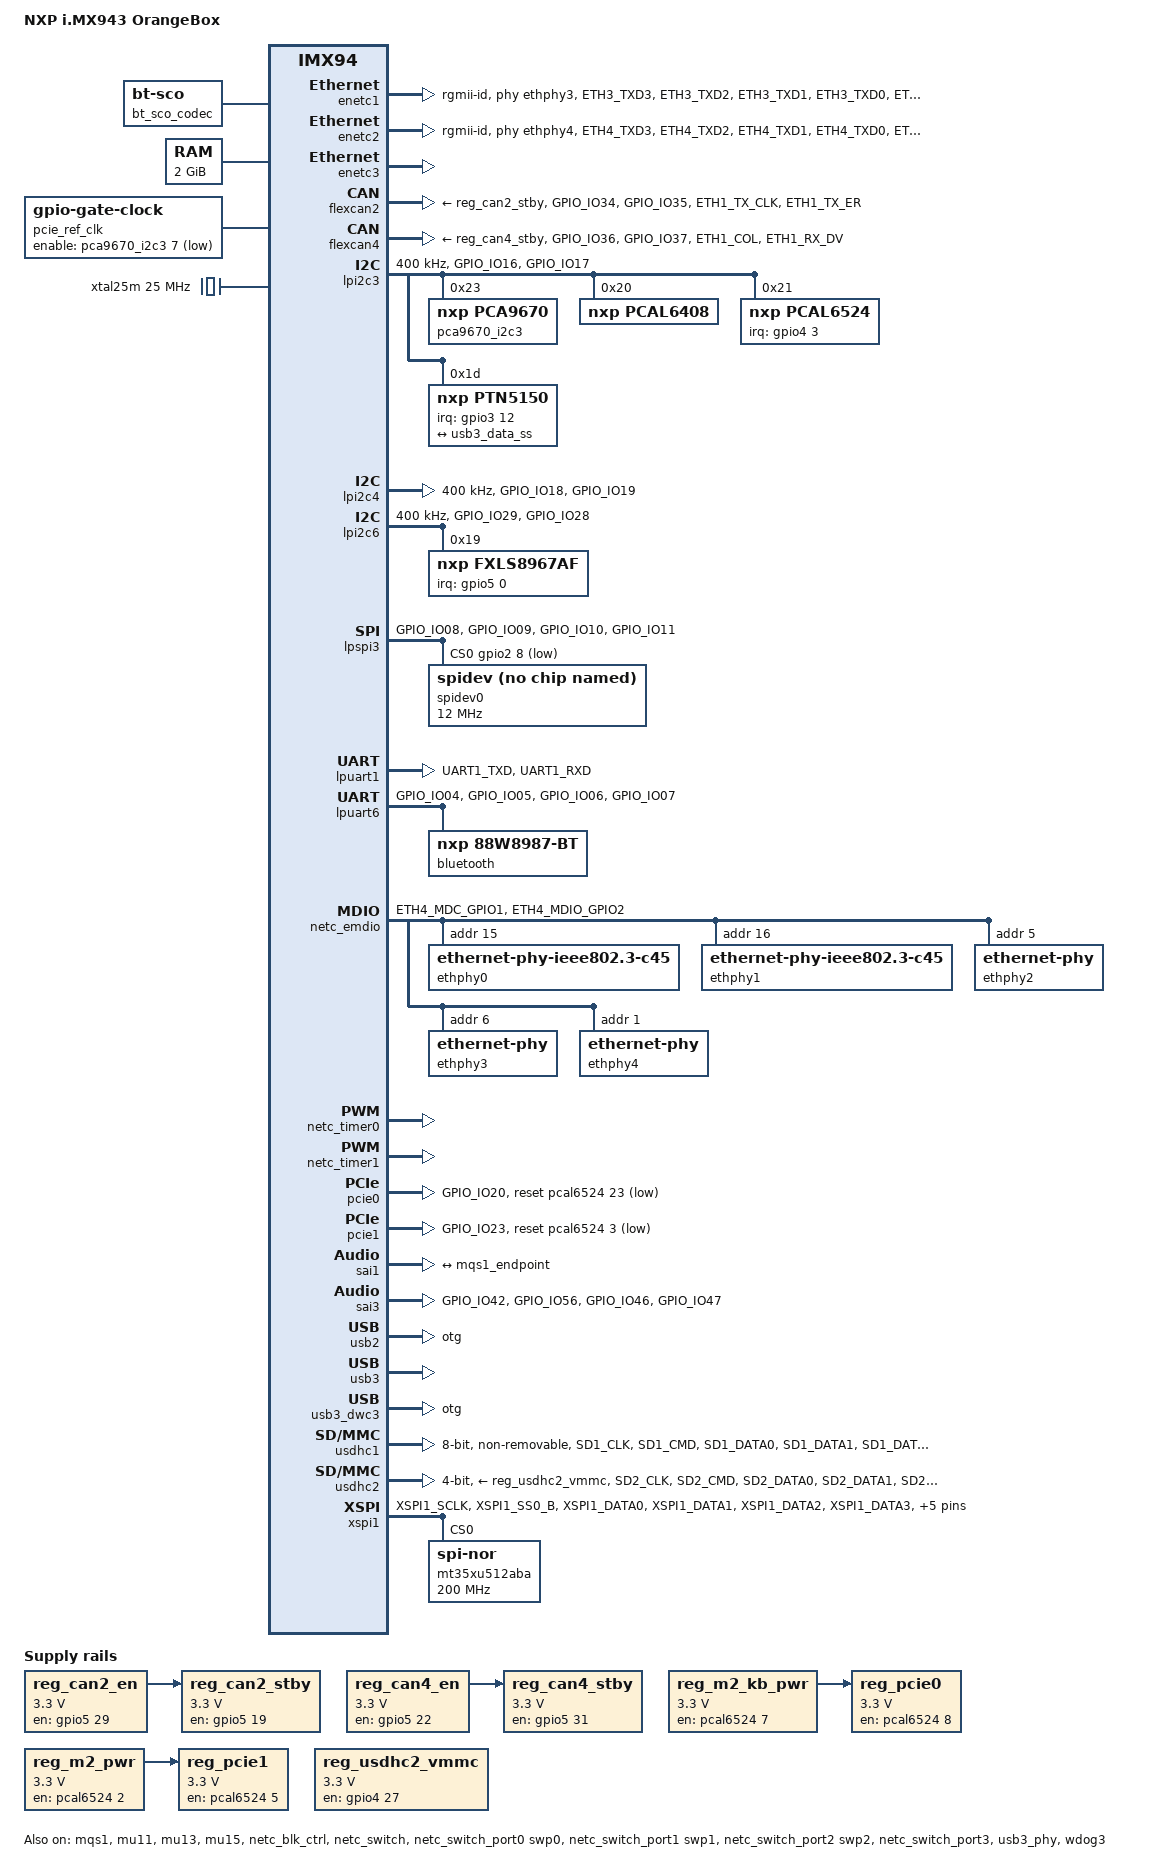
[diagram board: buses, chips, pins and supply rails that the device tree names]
// SPDX-License-Identifier: (GPL-2.0+ OR MIT)
/*
 * Copyright 2025 NXP
 */

/dts-v1/;

#include "imx943.dtsi"
#include <dt-bindings/usb/pd.h>

#define BRD_SM_CTRL_BT_WAKE		0x8000  /*!< PCAL6416A-3 */
#define BRD_SM_CTRL_SD3_WAKE		0x8001  /*!< PCAL6416A-4 */
#define BRD_SM_CTRL_PCIE1_WAKE		0x8002  /*!< PCAL6416A-5 */

/ {
	model = "NXP i.MX943 OrangeBox";
	compatible = "fsl,imx943-orangebox", "fsl,imx94";

	aliases {
		mmc0 = &usdhc1;
		mmc1 = &usdhc2;
		serial0 = &lpuart1;
	};

	bt_sco_codec: bt-sco-codec {
		compatible = "linux,bt-sco";
		#sound-dai-cells = <1>;
	};

	chosen {
		stdout-path = &lpuart1;
	};

	cm70: imx943-cm70 {
		compatible = "fsl,imx94-cm7";
		mbox-names = "tx", "rx", "rxdb";
		mboxes = <&mu11 0 1
			  &mu11 1 1
			  &mu11 3 1>;
		memory-region = <&cm70_vdevbuffer>, <&cm70_vdev0vring0>, <&cm70_vdev0vring1>,
				<&cm70_vdev1vring0>, <&cm70_vdev1vring1>, <&cm70_rsc_table>;
		fsl,startup-delay-ms = <50>;
		fsl,core-index = <0x1>;
		/* cpuid and lmmid must align with SM firmware */
		fsl,cpu-id = <1>;
		fsl,lmm-id = <2>;
		status = "okay";
	};

	cm71: imx943-cm71 {
		compatible = "fsl,imx94-cm7";
		mbox-names = "tx", "rx", "rxdb";
		mboxes = <&mu13 0 1
			  &mu13 1 1
			  &mu13 3 1>;
		memory-region = <&cm71_vdevbuffer>, <&cm71_vdev0vring0>, <&cm71_vdev0vring1>,
				<&cm71_vdev1vring0>, <&cm71_vdev1vring1>, <&cm71_rsc_table>;
		fsl,startup-delay-ms = <50>;
		fsl,core-index = <0x7>;
		/* cpuid and lmmid must align with SM firmware */
		fsl,cpu-id = <7>;
		fsl,lmm-id = <3>;
		status = "okay";
	};

	cm33s: imx943-cm33s {
		compatible = "fsl,imx94-cm33s";
		mbox-names = "tx", "rx", "rxdb";
		mboxes = <&mu15 0 1
			  &mu15 1 1
			  &mu15 3 1>;
		memory-region = <&cm33s_vdevbuffer>, <&cm33s_vdev0vring0>, <&cm33s_vdev0vring1>,
				<&cm33s_vdev1vring0>, <&cm33s_vdev1vring1>, <&cm33s_rsc_table>;
		fsl,startup-delay-ms = <50>;
		/* cpuid and lmmid must align with SM firmware */
		fsl,cpu-id = <8>;
		fsl,lmm-id = <1>;
		status = "okay";
	};

	memory@80000000 {
		device_type = "memory";
		reg = <0x0 0x80000000 0x0 0x80000000>;
	};

	pcie_ref_clk: clock-pcie-ref {
		compatible = "gpio-gate-clock";
		clocks = <&xtal25m>;
		#clock-cells = <0>;
		enable-gpios = <&pca9670_i2c3 7 GPIO_ACTIVE_LOW>;
	};

	reg_can2_en: regulator-can2-en {
		compatible = "regulator-fixed";
		regulator-max-microvolt = <3300000>;
		regulator-min-microvolt = <3300000>;
		regulator-name = "can2-en";
		gpio = <&gpio5 29 GPIO_ACTIVE_HIGH>;
		enable-active-high;
	};

	reg_can2_stby: regulator-can2-stby {
		compatible = "regulator-fixed";
		regulator-max-microvolt = <3300000>;
		regulator-min-microvolt = <3300000>;
		regulator-name = "can2-stby";
		vin-supply = <&reg_can2_en>;
		gpio = <&gpio5 19 GPIO_ACTIVE_HIGH>;
		enable-active-high;
	};

	reg_can4_en: regulator-can4-en {
		compatible = "regulator-fixed";
		regulator-max-microvolt = <3300000>;
		regulator-min-microvolt = <3300000>;
		regulator-name = "can4-en";
		gpio = <&gpio5 22 GPIO_ACTIVE_HIGH>;
		enable-active-high;
	};

	reg_can4_stby: regulator-can4-stby {
		compatible = "regulator-fixed";
		regulator-max-microvolt = <3300000>;
		regulator-min-microvolt = <3300000>;
		regulator-name = "can4-stby";
		vin-supply = <&reg_can4_en>;
		gpio = <&gpio5 31 GPIO_ACTIVE_HIGH>;
		enable-active-high;
	};

	reg_m2_kb_pwr: regulator-m2-kb-pwr {
		compatible = "regulator-fixed";
		regulator-name = "M.2-kb-power";
		regulator-min-microvolt = <3300000>;
		regulator-max-microvolt = <3300000>;
		gpio = <&pcal6524 7 GPIO_ACTIVE_HIGH>;
		enable-active-high;
		/*
		 * M.2 device only can be enabled(W_DISABLE1#) after all Power
		 * Rails reach their minimum operating voltage (PCI Express M.2
		 * Specification r5.1 3.1.4 Power-up Timing).
		 * Set a delay equal to the max value of Tsettle here.
		 */
		startup-delay-us = <5000>;
	};

	reg_pcie0: regulator-pcie-mdm {
		compatible = "regulator-fixed";
		regulator-name = "PCIe-MDM-pwr";
		regulator-min-microvolt = <3300000>;
		regulator-max-microvolt = <3300000>;
		vin-supply = <&reg_m2_kb_pwr>;
		gpio = <&pcal6524 8 GPIO_ACTIVE_HIGH>;
		enable-active-high;
	};

	reg_m2_pwr: regulator-m2-pwr {
		compatible = "regulator-fixed";
		regulator-name = "M.2-power";
		regulator-min-microvolt = <3300000>;
		regulator-max-microvolt = <3300000>;
		gpio = <&pcal6524 2 GPIO_ACTIVE_HIGH>;
		enable-active-high;
		/*
		 * M.2 device only can be enabled(W_DISABLE1#) after all Power
		 * Rails reach their minimum operating voltage (PCI Express M.2
		 * Specification r5.1 3.1.4 Power-up Timing).
		 * Set a delay equal to the max value of Tsettle here.
		 */
		startup-delay-us = <5000>;
	};

	reg_pcie1: regulator-pcie {
		compatible = "regulator-fixed";
		regulator-name = "PCIE_WLAN_EN";
		regulator-min-microvolt = <3300000>;
		regulator-max-microvolt = <3300000>;
		vin-supply = <&reg_m2_pwr>;
		gpio = <&pcal6524 5 GPIO_ACTIVE_HIGH>;
		enable-active-high;
	};

	reserved-memory {
		#address-cells = <2>;
		#size-cells = <2>;
		ranges;

		linux,cma {
			compatible = "shared-dma-pool";
			reusable;
			size = <0 0x10000000>;
			alloc-ranges = <0 0x80000000 0 0x7f000000>;
			linux,cma-default;
		};

		cm70_vdev0vring0: vdev0vring0@82000000 {
			reg = <0 0x82000000 0 0x8000>;
			no-map;
		};

		cm70_vdev0vring1: vdev0vring1@82008000 {
			reg = <0 0x82008000 0 0x8000>;
			no-map;
		};

		cm70_vdev1vring0: vdev1vring0@82010000 {
			reg = <0 0x82010000 0 0x8000>;
			no-map;
		};

		cm70_vdev1vring1: vdev1vring1@82018000 {
			reg = <0 0x82018000 0 0x8000>;
			no-map;
		};

		cm70_rsc_table: rsc-table@82220000 {
			reg = <0 0x82220000 0 0x1000>;
			no-map;
		};

		cm70_vdevbuffer: vdevbuffer@82020000 {
			compatible = "shared-dma-pool";
			reg = <0 0x82020000 0 0x100000>;
			no-map;
		};

		cm71_vdev0vring0: vdev0vring0@84000000 {
			reg = <0 0x84000000 0 0x8000>;
			no-map;
		};

		cm71_vdev0vring1: vdev0vring1@84008000 {
			reg = <0 0x84008000 0 0x8000>;
			no-map;
		};

		cm71_vdev1vring0: vdev1vring0@84010000 {
			reg = <0 0x84010000 0 0x8000>;
			no-map;
		};

		cm71_vdev1vring1: vdev1vring1@84018000 {
			reg = <0 0x84018000 0 0x8000>;
			no-map;
		};

		cm71_rsc_table: rsc-table@84220000 {
			reg = <0 0x84220000 0 0x1000>;
			no-map;
		};

		cm71_vdevbuffer: vdevbuffer@84020000 {
			compatible = "shared-dma-pool";
			reg = <0 0x84020000 0 0x100000>;
			no-map;
		};

		cm33s_vdev0vring0: vdev0vring0@20800000 {
			reg = <0 0x20800000 0 0x8000>;
			no-map;
		};

		cm33s_vdev0vring1: vdev0vring1@20808000 {
			reg = <0 0x20808000 0 0x8000>;
			no-map;
		};

		cm33s_vdev1vring0: vdev1vring0@20810000 {
			reg = <0 0x20810000 0 0x8000>;
			no-map;
		};

		cm33s_vdev1vring1: vdev1vring1@20818000 {
			reg = <0 0x20818000 0 0x8000>;
			no-map;
		};

		cm33s_rsc_table: rsc-table@208a0000 {
			reg = <0 0x208a0000 0 0x1000>;
			no-map;
		};

		cm33s_vdevbuffer: vdevbuffer@20820000 {
			compatible = "shared-dma-pool";
			reg = <0 0x20820000 0 0x80000>;
			no-map;
		};

		ele_reserved: ele-reserved@a4120000 {
			compatible = "shared-dma-pool";
			reg = <0 0xa4120000 0 0x100000>;
			no-map;
		};
	};

	reg_usdhc2_vmmc: regulator-usdhc2 {
		compatible = "regulator-fixed";
		pinctrl-names = "default";
		pinctrl-0 = <&pinctrl_reg_usdhc2_vmmc>;
		regulator-name = "VDD_SD2_3V3";
		regulator-min-microvolt = <3300000>;
		regulator-max-microvolt = <3300000>;
		gpio = <&gpio4 27 GPIO_ACTIVE_HIGH>;
		off-on-delay-us = <12000>;
		enable-active-high;
	};

	sound-mqs {
		compatible = "audio-graph-card2";
		links = <&sai1_port1>;
		label = "mqs-audio";
	};

	sound-bt-sco {
		compatible = "simple-audio-card";
		simple-audio-card,name = "bt-sco-audio";
		simple-audio-card,format = "dsp_a";
		simple-audio-card,bitclock-inversion;
		simple-audio-card,frame-master = <&btcpu>;
		simple-audio-card,bitclock-master = <&btcpu>;

		btcpu: simple-audio-card,cpu {
			sound-dai = <&sai3>;
			dai-tdm-slot-num = <2>;
			dai-tdm-slot-width = <16>;
		};

		simple-audio-card,codec {
			sound-dai = <&bt_sco_codec 1>;
		};
	};

	xtal25m: clock-xtal25m {
		compatible = "fixed-clock";
		#clock-cells = <0>;
		clock-frequency = <25000000>;
		clock-output-names = "xtal_25MHz";
	};
};

&ele_if0 {
	memory-region = <&ele_reserved>;
};

&enetc1 {
	clocks = <&scmi_clk IMX94_CLK_MAC4>;
	clock-names = "enet_ref_clk";
	pinctrl-names = "default";
	pinctrl-0 = <&pinctrl_eth3>;
	phy-handle = <&ethphy3>;
	phy-mode = "rgmii-id";
	status = "okay";
};

&enetc2 {
	clocks = <&scmi_clk IMX94_CLK_MAC5>;
	clock-names = "enet_ref_clk";
	pinctrl-names = "default";
	pinctrl-0 = <&pinctrl_eth4>;
	phy-handle = <&ethphy4>;
	phy-mode = "rgmii-id";
	status = "okay";
};

&enetc3 {
	status = "okay";
};

&flexcan2 {
	pinctrl-0 = <&pinctrl_flexcan2>;
	pinctrl-names = "default";
	xceiver-supply = <&reg_can2_stby>;
	status = "okay";
};

&flexcan4 {
	pinctrl-0 = <&pinctrl_flexcan4>;
	pinctrl-names = "default";
	xceiver-supply = <&reg_can4_stby>;
	status = "okay";
};

&lpi2c3 {
	clock-frequency = <400000>;
	pinctrl-0 = <&pinctrl_lpi2c3>;
	pinctrl-names = "default";
	status = "okay";

	pca9670_i2c3: gpio@23 {
		compatible = "nxp,pca9670";
		#gpio-cells = <2>;
		gpio-controller;
		reg = <0x23>;
	};

	pcal6408: gpio@20 {
		compatible = "nxp,pcal6408";
		#gpio-cells = <2>;
		gpio-controller;
		reg = <0x20>;
	};

	pcal6524: gpio@21 {
		compatible = "nxp,pcal6524";
		pinctrl-names = "default";
		pinctrl-0 = <&pinctrl_pcal6524>;
		reg = <0x21>;
		gpio-controller;
		#gpio-cells = <2>;
		interrupt-controller;
		#interrupt-cells = <2>;
		interrupt-parent = <&gpio4>;
		interrupts = <3 IRQ_TYPE_LEVEL_LOW>;

		mqs-mic-sel-mqs-hog {
			gpio-hog;
			gpios = <16 GPIO_ACTIVE_HIGH>;
			output-low;
		};

		usb3-mdm-sel-usb-hog {
			gpio-hog;
			gpios = <9 GPIO_ACTIVE_HIGH>;
			output-high;
		};

		usb2-m2-sel-usb-hog {
			gpio-hog;
			gpios = <22 GPIO_ACTIVE_HIGH>;
			output-high;
		};
	};

	ptn5150: tcpc@1d {
		compatible = "nxp,ptn5150";
		reg = <0x1d>;
		interrupt-parent = <&gpio3>;
		interrupts = <12 IRQ_TYPE_EDGE_FALLING>;
		pinctrl-names = "default";
		pinctrl-0 = <&pinctrl_typec_usb3_0>;

		connector {
			compatible = "usb-c-connector";
			label = "USB-C";

			port {
				typec_con_ss: endpoint {
					remote-endpoint = <&usb3_data_ss>;
				};
			};
		};
	};

	ptn5150_2: tcpc@3d {
		compatible = "nxp,ptn5150";
		reg = <0x3d>;
		interrupt-parent = <&gpio4>;
		interrupts = <1 IRQ_TYPE_EDGE_FALLING>;
		pinctrl-names = "default";
		pinctrl-0 = <&pinctrl_typec_usb2_0>;
		status = "disabled";
	};
};

&lpi2c4 {
	clock-frequency = <400000>;
	pinctrl-0 = <&pinctrl_lpi2c4>;
	pinctrl-names = "default";
	status = "okay";
};

&lpi2c6 {
	clock-frequency = <400000>;
	pinctrl-0 = <&pinctrl_lpi2c6>;
	pinctrl-names = "default";
	status = "okay";

	fxls8967af: accelerometer@19 {
		compatible = "nxp,fxls8967af";
		reg = <0x19>;
		interrupt-parent = <&gpio5>;
		interrupts = <0 IRQ_TYPE_LEVEL_HIGH>;
		interrupt-names = "INT1";
		pinctrl-0 = <&pinctrl_fxls8967>;
		pinctrl-names = "default";
	};
};

&lpspi3 {
	cs-gpios = <&gpio2 8 GPIO_ACTIVE_LOW>;
	num-cs = <2>;
	pinctrl-0 = <&pinctrl_lpspi3>;
	pinctrl-names = "default";
	status = "okay";

	spidev0: spi@0 {
		compatible = "rohm,dh2228fv";
		reg = <0>;
		spi-max-frequency = <12000000>;
	};
};

&lpuart1 {
	/* console */
	pinctrl-names = "default";
	pinctrl-0 = <&pinctrl_uart1>;
	status = "okay";
};

&lpuart6 {
	/* BT */
	pinctrl-0 = <&pinctrl_uart6>;
	pinctrl-names = "default";
	status = "okay";

	bluetooth {
		compatible = "nxp,88w8987-bt";
	};
};

&mqs1 {
	pinctrl-names = "default";
	pinctrl-0 = <&pinctrl_mqs1>;
	assigned-clocks = <&scmi_clk IMX94_CLK_AUDIOPLL1_VCO>,
			<&scmi_clk IMX94_CLK_AUDIOPLL2_VCO>,
			<&scmi_clk IMX94_CLK_AUDIOPLL1>,
			<&scmi_clk IMX94_CLK_AUDIOPLL2>,
			<&scmi_clk IMX94_CLK_SAI1>;
	assigned-clock-parents = <0>, <0>, <0>, <0>,
			<&scmi_clk IMX94_CLK_AUDIOPLL1>;
	assigned-clock-rates = <3932160000>,
			<3612672000>, <393216000>,
			<361267200>, <24576000>;
	clocks = <&scmi_clk IMX94_CLK_SAI1>;
	clock-names = "mclk";
	#sound-dai-cells = <0>;
	status = "okay";

	mqs1_port: port {
		dai-format = "left_j";
		playback-only;

		mqs1_endpoint: endpoint {
			remote-endpoint = <&sai1_endpoint1>;
		};
	};
};

&mu11 {
	status = "okay";
};

&mu13 {
	status = "okay";
};

&mu15 {
	status = "okay";
};

&netc_blk_ctrl {
	assigned-clocks = <&scmi_clk IMX94_CLK_MAC2>,
			  <&scmi_clk IMX94_CLK_MAC4>,
			  <&scmi_clk IMX94_CLK_MAC5>;
	assigned-clock-parents = <&scmi_clk IMX94_CLK_SYSPLL1_PFD0>,
				 <&scmi_clk IMX94_CLK_SYSPLL1_PFD0>,
				 <&scmi_clk IMX94_CLK_SYSPLL1_PFD0>;
	assigned-clock-rates = <250000000>, <250000000>, <250000000>;
	status = "okay";
};

&netc_emdio {
	pinctrl-names = "default";
	pinctrl-0 = <&pinctrl_emdio>;
	status = "okay";

	ethphy0: ethernet-phy@f {
		compatible = "ethernet-phy-ieee802.3-c45";
		reg = <0xf>;
	};

	ethphy1: ethernet-phy@10 {
		compatible = "ethernet-phy-ieee802.3-c45";
		reg = <0x10>;
	};

	ethphy2: ethernet-phy@5 {
		reg = <0x5>;
		realtek,clkout-disable;
	};

	ethphy3: ethernet-phy@6 {
		reg = <0x6>;
		realtek,clkout-disable;
	};

	ethphy4: ethernet-phy@1 {
		reg = <0x1>;
		tx-internal-delay-ps = <1800>;
		rx-internal-delay-ps = <1666>;
	};
};

&netc_switch {
	pinctrl-names = "default";
	pinctrl-0 = <&pinctrl_switch>;
	status = "okay";
};

&netc_switch_port0 {
	label = "swp0";
	phy-handle = <&ethphy0>;
	managed = "in-band-status";
	phy-mode = "sgmii";
	status = "okay";
};

&netc_switch_port1 {
	label = "swp1";
	phy-handle = <&ethphy1>;
	managed = "in-band-status";
	phy-mode = "sgmii";
	status = "okay";
};

&netc_switch_port2 {
	label = "swp2";
	clocks = <&scmi_clk IMX94_CLK_MAC2>;
	clock-names = "ref";
	phy-handle = <&ethphy2>;
	phy-mode = "rgmii-id";
	status = "okay";
};

&netc_switch_port3{
	status = "okay";
};

&netc_timer0 {
	status = "okay";
};

&netc_timer1 {
	status = "okay";
};

&pcie0 {
	pinctrl-0 = <&pinctrl_pcie0>;
	pinctrl-names = "default";
	clocks = <&scmi_clk IMX94_CLK_HSIO>,
		 <&scmi_clk IMX94_CLK_HSIOPLL>,
		 <&scmi_clk IMX94_CLK_HSIOPLL_VCO>,
		 <&scmi_clk IMX94_CLK_HSIOPCIEAUX>,
		 <&pcie_ref_clk>;
	clock-names = "pcie", "pcie_bus", "pcie_phy", "pcie_aux", "ext-ref";
	reset-gpio = <&pcal6524 23 GPIO_ACTIVE_LOW>;
	vpcie-supply = <&reg_pcie0>;
	supports-clkreq;
	status = "okay";
};

&pcie1 {
	pinctrl-0 = <&pinctrl_pcie1>;
	pinctrl-names = "default";
	clocks = <&scmi_clk IMX94_CLK_HSIO>,
		 <&scmi_clk IMX94_CLK_HSIOPLL>,
		 <&scmi_clk IMX94_CLK_HSIOPLL_VCO>,
		 <&scmi_clk IMX94_CLK_HSIOPCIEAUX>,
		 <&pcie_ref_clk>;
	clock-names = "pcie", "pcie_bus", "pcie_phy", "pcie_aux", "ext-ref";
	reset-gpio = <&pcal6524 3 GPIO_ACTIVE_LOW>;
	vpcie-supply = <&reg_pcie1>;
	supports-clkreq;
	status = "okay";
};

&sai1 {
	clocks = <&scmi_clk IMX94_CLK_BUSAON>, <&dummy>,
		 <&scmi_clk IMX94_CLK_SAI1>, <&dummy>,
		 <&dummy>, <&scmi_clk IMX94_CLK_AUDIOPLL1>,
		 <&scmi_clk IMX94_CLK_AUDIOPLL2>;
	clock-names = "bus", "mclk0", "mclk1", "mclk2", "mclk3", "pll8k", "pll11k";
	assigned-clocks = <&scmi_clk IMX94_CLK_AUDIOPLL1_VCO>,
			<&scmi_clk IMX94_CLK_AUDIOPLL2_VCO>,
			<&scmi_clk IMX94_CLK_AUDIOPLL1>,
			<&scmi_clk IMX94_CLK_AUDIOPLL2>,
			<&scmi_clk IMX94_CLK_SAI1>;
	assigned-clock-parents = <0>, <0>, <0>, <0>,
			<&scmi_clk IMX94_CLK_AUDIOPLL1>;
	assigned-clock-rates = <3932160000>,
			<3612672000>, <393216000>,
			<361267200>, <24576000>;
	fsl,sai-mclk-direction-output;
	status = "okay";

	ports {
		#address-cells = <1>;
		#size-cells = <0>;

		sai1_port1: port@1 {
			reg = <1>;
			dai-format = "left_j";
			bitclock-master;
			frame-master;
			playback-only;
			mclk-fs = <512>;

			sai1_endpoint1: endpoint {
				remote-endpoint = <&mqs1_endpoint>;
			};
		};
	};
};

&sai3 {
	pinctrl-names = "default";
	pinctrl-0 = <&pinctrl_sai3>;
	assigned-clocks = <&scmi_clk IMX94_CLK_AUDIOPLL1_VCO>,
			  <&scmi_clk IMX94_CLK_AUDIOPLL2_VCO>,
			  <&scmi_clk IMX94_CLK_AUDIOPLL1>,
			  <&scmi_clk IMX94_CLK_AUDIOPLL2>,
			  <&scmi_clk IMX94_CLK_SAI3>;
	assigned-clock-parents = <0>, <0>, <0>, <0>,
				 <&scmi_clk IMX94_CLK_AUDIOPLL1>;
	assigned-clock-rates = <3932160000>,
			       <3612672000>, <393216000>,
			       <361267200>, <12288000>;
	fsl,sai-mclk-direction-output;
	status = "okay";
};

&scmi_misc {
	nxp,ctrl-ids = <BRD_SM_CTRL_SD3_WAKE		1
			BRD_SM_CTRL_PCIE1_WAKE		1
			BRD_SM_CTRL_BT_WAKE		1>;
};

&thermal_zones {
	pf09 {
		polling-delay-passive = <250>;
		polling-delay = <2000>;
		thermal-sensors = <&scmi_sensor 2>;
		status = "disabled";
		trips {
			pf09_alert: trip0 {
				temperature = <140000>;
				hysteresis = <2000>;
				type = "passive";
			};

			pf09_crit: trip1 {
				temperature = <155000>;
				hysteresis = <2000>;
				type = "critical";
			};
		};
	};

	pf53_soc {
		polling-delay-passive = <250>;
		polling-delay = <2000>;
		thermal-sensors = <&scmi_sensor 3>;
		status = "disabled";
		trips {
			pf5302_alert: trip0 {
				temperature = <140000>;
				hysteresis = <2000>;
				type = "passive";
			};

			pf5302_crit: trip1 {
				temperature = <155000>;
				hysteresis = <2000>;
				type = "critical";
			};
		};
	};
};

&usb2 {
	dr_mode = "otg";
	disable-over-current;
	adp-disable;
	hnp-disable;
	srp-disable;
	status = "okay";
};

&usb3 {
	status = "okay";
};

&usb3_dwc3 {
	dr_mode = "otg";
	extcon = <&ptn5150>;
	adp-disable;
	hnp-disable;
	srp-disable;
	snps,dis-u1-entry-quirk;
	snps,dis-u2-entry-quirk;
	status = "okay";
};

&usb3_phy {
	orientation-switch;
	status = "okay";

	port {
		usb3_data_ss: endpoint {
			remote-endpoint = <&typec_con_ss>;
		};
	};
};

&usdhc1 {
	pinctrl-names = "default", "state_100mhz", "state_200mhz", "sleep";
	pinctrl-0 = <&pinctrl_usdhc1>;
	pinctrl-1 = <&pinctrl_usdhc1_100mhz>;
	pinctrl-2 = <&pinctrl_usdhc1_200mhz>;
	pinctrl-3 = <&pinctrl_usdhc1>;
	bus-width = <8>;
	non-removable;
	no-sdio;
	no-sd;
	status = "okay";
};

&usdhc2 {
	pinctrl-names = "default", "state_100mhz", "state_200mhz", "sleep";
	pinctrl-0 = <&pinctrl_usdhc2>, <&pinctrl_usdhc2_gpio>;
	pinctrl-1 = <&pinctrl_usdhc2_100mhz>, <&pinctrl_usdhc2_gpio>;
	pinctrl-2 = <&pinctrl_usdhc2_200mhz>, <&pinctrl_usdhc2_gpio>;
	pinctrl-3 = <&pinctrl_usdhc2>, <&pinctrl_usdhc2_gpio>;
	cd-gpios = <&gpio4 20 GPIO_ACTIVE_LOW>;
	fsl,cd-gpio-wakeup-disable;
	vmmc-supply = <&reg_usdhc2_vmmc>;
	bus-width = <4>;
	status = "okay";
};

&wdog3 {
	fsl,ext-reset-output;
	status = "okay";
};

&xspi1 {
	pinctrl-0 = <&pinctrl_xspi1>;
	pinctrl-1 = <&pinctrl_xspi1>;
	pinctrl-names = "default", "sleep";
	status = "okay";

	mt35xu512aba: flash@0 {
		compatible = "jedec,spi-nor";
		reg = <0>;
		#address-cells = <1>;
		#size-cells = <1>;
		spi-max-frequency = <200000000>;
		spi-rx-bus-width = <8>;
		spi-tx-bus-width = <8>;
	};
};

&scmi_iomuxc {
	pinctrl_emdio: emdiogrp{
		fsl,pins = <
			IMX94_PAD_ETH4_MDC_GPIO1__NETC_EMDC		0x51e
			IMX94_PAD_ETH4_MDIO_GPIO2__NETC_EMDIO		0x91e
		>;
	};

	pinctrl_eth3: eth3grp {
		fsl,pins = <
			IMX94_PAD_ETH3_TXD3__NETC_PINMUX_ETH3_TXD3		0x51e
			IMX94_PAD_ETH3_TXD2__NETC_PINMUX_ETH3_TXD2		0x51e
			IMX94_PAD_ETH3_TXD1__NETC_PINMUX_ETH3_TXD1		0x51e
			IMX94_PAD_ETH3_TXD0__NETC_PINMUX_ETH3_TXD0		0x51e
			IMX94_PAD_ETH3_TX_CTL__NETC_PINMUX_ETH3_TX_CTL		0x51e
			IMX94_PAD_ETH3_TX_CLK__NETC_PINMUX_ETH3_TX_CLK		0x59e
			IMX94_PAD_ETH3_RX_CTL__NETC_PINMUX_ETH3_RX_CTL		0x51e
			IMX94_PAD_ETH3_RX_CLK__NETC_PINMUX_ETH3_RX_CLK		0x59e
			IMX94_PAD_ETH3_RXD0__NETC_PINMUX_ETH3_RXD0		0x51e
			IMX94_PAD_ETH3_RXD1__NETC_PINMUX_ETH3_RXD1		0x51e
			IMX94_PAD_ETH3_RXD2__NETC_PINMUX_ETH3_RXD2		0x51e
			IMX94_PAD_ETH3_RXD3__NETC_PINMUX_ETH3_RXD3		0x51e
		>;
	};

	pinctrl_eth4: eth4grp {
		fsl,pins = <
			IMX94_PAD_ETH4_TXD3__NETC_PINMUX_ETH4_TXD3		0x51e
			IMX94_PAD_ETH4_TXD2__NETC_PINMUX_ETH4_TXD2		0x51e
			IMX94_PAD_ETH4_TXD1__NETC_PINMUX_ETH4_TXD1		0x51e
			IMX94_PAD_ETH4_TXD0__NETC_PINMUX_ETH4_TXD0		0x51e
			IMX94_PAD_ETH4_TX_CTL__NETC_PINMUX_ETH4_TX_CTL		0x51e
			IMX94_PAD_ETH4_TX_CLK__NETC_PINMUX_ETH4_TX_CLK		0x59e
			IMX94_PAD_ETH4_RX_CTL__NETC_PINMUX_ETH4_RX_CTL		0x51e
			IMX94_PAD_ETH4_RX_CLK__NETC_PINMUX_ETH4_RX_CLK		0x59e
			IMX94_PAD_ETH4_RXD0__NETC_PINMUX_ETH4_RXD0		0x51e
			IMX94_PAD_ETH4_RXD1__NETC_PINMUX_ETH4_RXD1		0x51e
			IMX94_PAD_ETH4_RXD2__NETC_PINMUX_ETH4_RXD2		0x51e
			IMX94_PAD_ETH4_RXD3__NETC_PINMUX_ETH4_RXD3		0x51e
		>;
	};

	pinctrl_flexcan2: flexcan2grp {
		fsl,pins = <
			IMX94_PAD_GPIO_IO34__CAN2_TX		0x39e
			IMX94_PAD_GPIO_IO35__CAN2_RX		0x39e
			IMX94_PAD_ETH1_TX_CLK__GPIO5_IO19	0x31e	/* can2_stby */
			IMX94_PAD_ETH1_TX_ER__GPIO5_IO29	0x31e	/* can2_en */
		>;
	};

	pinctrl_flexcan4: flexcan4grp {
		fsl,pins = <
			IMX94_PAD_GPIO_IO36__CAN4_TX		0x39e
			IMX94_PAD_GPIO_IO37__CAN4_RX		0x39e
			IMX94_PAD_ETH1_COL__GPIO5_IO31		0x31e	/* can4_stby */
			IMX94_PAD_ETH1_RX_DV__GPIO5_IO22	0x31e	/* can4_en */
		>;
	};

	pinctrl_fxls8967: fxls8967grp {
		fsl,pins = <
			IMX94_PAD_ETH0_TXD0__GPIO5_IO0		0x31
		>;
	};

	pinctrl_lpi2c3: lpi2c3grp {
		fsl,pins = <
			IMX94_PAD_GPIO_IO16__LPI2C3_SDA		0x40000b9e
			IMX94_PAD_GPIO_IO17__LPI2C3_SCL		0x40000b9e
		>;
	};

	pinctrl_lpi2c4: lpi2c4grp {
		fsl,pins = <
			IMX94_PAD_GPIO_IO18__LPI2C4_SDA		0x40000b9e
			IMX94_PAD_GPIO_IO19__LPI2C4_SCL		0x40000b9e
		>;
	};

	pinctrl_lpi2c6: lpi2c6grp {
		fsl,pins = <
			IMX94_PAD_GPIO_IO29__LPI2C6_SDA		0x40000b9e
			IMX94_PAD_GPIO_IO28__LPI2C6_SCL		0x40000b9e
		>;
	};

	pinctrl_lpspi3: lpspi3grp {
		fsl,pins = <
			IMX94_PAD_GPIO_IO08__GPIO2_IO8			0x3fe
			IMX94_PAD_GPIO_IO09__LPSPI3_SIN			0x3fe
			IMX94_PAD_GPIO_IO10__LPSPI3_SOUT		0x3fe
			IMX94_PAD_GPIO_IO11__LPSPI3_SCK			0x3fe
		>;
	};

	pinctrl_mqs1: mqs1grp {
		fsl,pins = <
			IMX94_PAD_PDM_CLK__MQS1_LEFT           0x31e
			IMX94_PAD_PDM_BIT_STREAM0__MQS1_RIGHT  0x31e
		>;
	};

	pinctrl_pcal6524: pcal6524grp {
		fsl,pins = <
			IMX94_PAD_CCM_CLKO4__GPIO4_IO3			0x31e
		>;
	};

	pinctrl_pcie0: pcie0grp {
		fsl,pins = <
			IMX94_PAD_GPIO_IO20__PCIE1_CLKREQ_B	0x4000031e
		>;
	};

	pinctrl_pcie1: pcie1grp {
		fsl,pins = <
			IMX94_PAD_GPIO_IO23__PCIE2_CLKREQ_B	0x4000031e
		>;
	};

	pinctrl_pdm: pdmgrp {
		fsl,pins = <
			IMX94_PAD_PDM_CLK__PDM_CLK			0x31e
			IMX94_PAD_PDM_BIT_STREAM0__PDM_BIT_STREAM0	0x31e
			IMX94_PAD_PDM_BIT_STREAM1__PDM_BIT_STREAM1	0x31e
		>;
	};

	pinctrl_sai3: sai3grp {
		fsl,pins = <
			IMX94_PAD_GPIO_IO42__SAI3_TX_BCLK	0x31e
			IMX94_PAD_GPIO_IO56__SAI3_TX_SYNC	0x31e
			IMX94_PAD_GPIO_IO46__SAI3_RX_DATA0	0x31e
			IMX94_PAD_GPIO_IO47__SAI3_TX_DATA0	0x31e
		>;
	};

	pinctrl_switch: switchgrp {
		fsl,pins = <
			IMX94_PAD_ETH2_TXD3__NETC_PINMUX_ETH2_TXD3		0x51e
			IMX94_PAD_ETH2_TXD2__NETC_PINMUX_ETH2_TXD2		0x51e
			IMX94_PAD_ETH2_TXD1__NETC_PINMUX_ETH2_TXD1		0x51e
			IMX94_PAD_ETH2_TXD0__NETC_PINMUX_ETH2_TXD0		0x51e
			IMX94_PAD_ETH2_TX_CTL__NETC_PINMUX_ETH2_TX_CTL		0x51e
			IMX94_PAD_ETH2_TX_CLK__NETC_PINMUX_ETH2_TX_CLK		0x59e
			IMX94_PAD_ETH2_RX_CTL__NETC_PINMUX_ETH2_RX_CTL		0x51e
			IMX94_PAD_ETH2_RX_CLK__NETC_PINMUX_ETH2_RX_CLK		0x59e
			IMX94_PAD_ETH2_RXD0__NETC_PINMUX_ETH2_RXD0		0x51e
			IMX94_PAD_ETH2_RXD1__NETC_PINMUX_ETH2_RXD1		0x51e
			IMX94_PAD_ETH2_RXD2__NETC_PINMUX_ETH2_RXD2		0x51e
			IMX94_PAD_ETH2_RXD3__NETC_PINMUX_ETH2_RXD3		0x51e
		>;
	};

	pinctrl_typec_usb3_0: typecgrp3 {
		fsl,pins = <
			IMX94_PAD_GPIO_IO44__GPIO3_IO12		0x31e
			/* The CCM_CLKO1 (output) function will make USB_ID not work */
			IMX94_PAD_CCM_CLKO1__GPIO4_IO0		0x31e
		>;
	};

	pinctrl_typec_usb2_0: typecgrp {
		fsl,pins = <
			IMX94_PAD_CCM_CLKO2__GPIO4_IO1		0x31e
		>;
	};

	pinctrl_uart1: uart1grp {
		fsl,pins = <
			IMX94_PAD_UART1_TXD__LPUART1_TX		0x31e
			IMX94_PAD_UART1_RXD__LPUART1_RX		0x31e
		>;
	};

	pinctrl_uart6: uart6grp {
		fsl,pins = <
			IMX94_PAD_GPIO_IO04__LPUART6_TX		0x31e
			IMX94_PAD_GPIO_IO05__LPUART6_RX		0x31e
			IMX94_PAD_GPIO_IO06__LPUART6_CTS_B	0x31e
			IMX94_PAD_GPIO_IO07__LPUART6_RTS_B	0x31e
		>;
	};

	pinctrl_usdhc1: usdhc1grp {
		fsl,pins = <
			IMX94_PAD_SD1_CLK__USDHC1_CLK		0x158e
			IMX94_PAD_SD1_CMD__USDHC1_CMD		0x138e
			IMX94_PAD_SD1_DATA0__USDHC1_DATA0	0x138e
			IMX94_PAD_SD1_DATA1__USDHC1_DATA1	0x138e
			IMX94_PAD_SD1_DATA2__USDHC1_DATA2	0x138e
			IMX94_PAD_SD1_DATA3__USDHC1_DATA3	0x138e
			IMX94_PAD_SD1_DATA4__USDHC1_DATA4	0x138e
			IMX94_PAD_SD1_DATA5__USDHC1_DATA5	0x138e
			IMX94_PAD_SD1_DATA6__USDHC1_DATA6	0x138e
			IMX94_PAD_SD1_DATA7__USDHC1_DATA7	0x138e
			IMX94_PAD_SD1_STROBE__USDHC1_STROBE	0x158e
		>;
	};

	pinctrl_usdhc1_100mhz: usdhc1-100mhzgrp {
		fsl,pins = <
			IMX94_PAD_SD1_CLK__USDHC1_CLK		0x158e
			IMX94_PAD_SD1_CMD__USDHC1_CMD		0x138e
			IMX94_PAD_SD1_DATA0__USDHC1_DATA0	0x138e
			IMX94_PAD_SD1_DATA1__USDHC1_DATA1	0x138e
			IMX94_PAD_SD1_DATA2__USDHC1_DATA2	0x138e
			IMX94_PAD_SD1_DATA3__USDHC1_DATA3	0x138e
			IMX94_PAD_SD1_DATA4__USDHC1_DATA4	0x138e
			IMX94_PAD_SD1_DATA5__USDHC1_DATA5	0x138e
			IMX94_PAD_SD1_DATA6__USDHC1_DATA6	0x138e
			IMX94_PAD_SD1_DATA7__USDHC1_DATA7	0x138e
			IMX94_PAD_SD1_STROBE__USDHC1_STROBE	0x158e
		>;
	};

	pinctrl_usdhc1_200mhz: usdhc1-200mhzgrp {
		fsl,pins = <
			IMX94_PAD_SD1_CLK__USDHC1_CLK		0x15fe
			IMX94_PAD_SD1_CMD__USDHC1_CMD		0x13fe
			IMX94_PAD_SD1_DATA0__USDHC1_DATA0	0x13fe
			IMX94_PAD_SD1_DATA1__USDHC1_DATA1	0x13fe
			IMX94_PAD_SD1_DATA2__USDHC1_DATA2	0x13fe
			IMX94_PAD_SD1_DATA3__USDHC1_DATA3	0x13fe
			IMX94_PAD_SD1_DATA4__USDHC1_DATA4	0x13fe
			IMX94_PAD_SD1_DATA5__USDHC1_DATA5	0x13fe
			IMX94_PAD_SD1_DATA6__USDHC1_DATA6	0x13fe
			IMX94_PAD_SD1_DATA7__USDHC1_DATA7	0x13fe
			IMX94_PAD_SD1_STROBE__USDHC1_STROBE	0x15fe
		>;
	};

	pinctrl_usdhc2: usdhc2grp {
		fsl,pins = <
			IMX94_PAD_SD2_CLK__USDHC2_CLK		0x158e
			IMX94_PAD_SD2_CMD__USDHC2_CMD		0x138e
			IMX94_PAD_SD2_DATA0__USDHC2_DATA0	0x138e
			IMX94_PAD_SD2_DATA1__USDHC2_DATA1	0x138e
			IMX94_PAD_SD2_DATA2__USDHC2_DATA2	0x138e
			IMX94_PAD_SD2_DATA3__USDHC2_DATA3	0x138e
			IMX94_PAD_SD2_VSELECT__USDHC2_VSELECT	0x51e
		>;
	};

	pinctrl_usdhc2_100mhz: usdhc2-100mhzgrp {
		fsl,pins = <
			IMX94_PAD_SD2_CLK__USDHC2_CLK		0x158e
			IMX94_PAD_SD2_CMD__USDHC2_CMD		0x138e
			IMX94_PAD_SD2_DATA0__USDHC2_DATA0	0x138e
			IMX94_PAD_SD2_DATA1__USDHC2_DATA1	0x138e
			IMX94_PAD_SD2_DATA2__USDHC2_DATA2	0x138e
			IMX94_PAD_SD2_DATA3__USDHC2_DATA3	0x138e
			IMX94_PAD_SD2_VSELECT__USDHC2_VSELECT	0x51e
		>;
	};

	pinctrl_usdhc2_200mhz: usdhc2-200mhzgrp {
		fsl,pins = <
			IMX94_PAD_SD2_CLK__USDHC2_CLK		0x15fe
			IMX94_PAD_SD2_CMD__USDHC2_CMD		0x13fe
			IMX94_PAD_SD2_DATA0__USDHC2_DATA0	0x13fe
			IMX94_PAD_SD2_DATA1__USDHC2_DATA1	0x13fe
			IMX94_PAD_SD2_DATA2__USDHC2_DATA2	0x13fe
			IMX94_PAD_SD2_DATA3__USDHC2_DATA3	0x13fe
			IMX94_PAD_SD2_VSELECT__USDHC2_VSELECT	0x51e
		>;
	};

	pinctrl_usdhc2_gpio: usdhc2gpiogrp {
		fsl,pins = <
			IMX94_PAD_SD2_CD_B__GPIO4_IO20		0x31e
		>;
	};

	pinctrl_reg_usdhc2_vmmc: regusdhc2vmmcgrp {
		fsl,pins = <
			IMX94_PAD_SD2_RESET_B__GPIO4_IO27	0x31e
		>;
	};

	pinctrl_xspi1: xspi1grp {
		fsl,pins = <
			IMX94_PAD_XSPI1_SCLK__XSPI1_A_SCLK      0x3fe
			IMX94_PAD_XSPI1_SS0_B__XSPI1_A_SS0_B    0x3fe
			IMX94_PAD_XSPI1_DATA0__XSPI1_A_DATA0    0x3fe
			IMX94_PAD_XSPI1_DATA1__XSPI1_A_DATA1    0x3fe
			IMX94_PAD_XSPI1_DATA2__XSPI1_A_DATA2    0x3fe
			IMX94_PAD_XSPI1_DATA3__XSPI1_A_DATA3    0x3fe
			IMX94_PAD_XSPI1_DATA4__XSPI1_A_DATA4    0x3fe
			IMX94_PAD_XSPI1_DATA5__XSPI1_A_DATA5    0x3fe
			IMX94_PAD_XSPI1_DATA6__XSPI1_A_DATA6    0x3fe
			IMX94_PAD_XSPI1_DATA7__XSPI1_A_DATA7    0x3fe
			IMX94_PAD_XSPI1_DQS__XSPI1_A_DQS        0x3fe
		>;
	};
};
